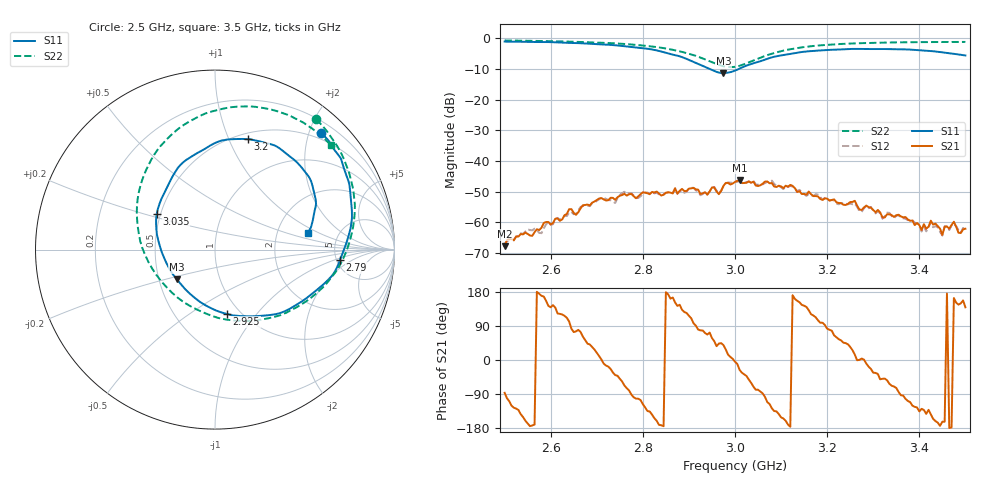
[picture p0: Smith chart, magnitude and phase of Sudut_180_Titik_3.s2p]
# Hz S RI R 50
! CMT, C1220, 16058040, 17.2.0/1
! Date: 15/08/2018 10:42:30
! Data: Format (Calibration Info)
! Freq  S11: Re/Im (F2)  S21: Re/Im (F2)  S12: Re/Im (F2)  S22: Re/Im (F2)
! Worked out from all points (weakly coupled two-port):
!   201 points, 2.5 GHz to 3.5 GHz, reference 50 ohm
!   highest |S21| = -46.20 dB at 3.01 GHz (marker M1); lowest = -67.7 dB at 2.5 GHz (marker M2)
!   lowest |S11| = -11.4 dB at 2.975 GHz (marker M3), VSWR 1.74, Z = 30.9 - j11 ohm
!   |S11| at or under -10 dB: 2.944 GHz to 3.009 GHz (64.12 MHz wide, 2.15 % of centre)
!   |S22| runs from -9.4 to -0.7 dB; largest |S21 - S12| = 0.00047
!   S11 on the Smith chart (normalised r, x): 2.5 GHz: 0.38, +2.21; 2.79 GHz: 5.37, -1.21; 2.925 GHz: 0.87, -0.72; 3.035 GHz: 0.48, +0.22; 3.2 GHz: 0.56, +1.18; 3.5 GHz: 2.99, +0.74
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2.5e9  0.5924 0.6518  2.47e-05 -0.00041  2.81e-05 -0.000442  0.5645 0.7249
2.67e9  0.7513 0.3412  0.000913 0.00168  0.000944 0.0016  0.7378 0.4535
2.74e9  0.7568 0.1288  0.00179 -0.0015  0.00174 -0.00114  0.7769 0.2738
2.76e9  0.7387 0.058  0.00113 -0.0027  0.00128 -0.00289  0.7785 0.211
2.79e9  0.6969 -0.0576  -0.000554 -0.00259  -0.000627 -0.00242  0.7657 0.1062
2.835e9  0.583 -0.2114  -0.00293 -0.000456  -0.00283 -0.000578  0.7051 -0.0691
2.925e9  0.0669 -0.3589  0.000596 0.00285  0.000511 0.00273  0.294 -0.3833
2.975e9  -0.2134 -0.1652  0.00306 0.0025  0.00298 0.00245  -0.0994 -0.3346
3e9  -0.2967 -0.0139  0.00456 -0.000354  0.00454 -0.000607  -0.2714 -0.2076
3.01e9  -0.3159 0.0504  0.0044 -0.00215  0.00422 -0.00198  -0.3267 -0.1408
3.035e9  -0.3249 0.1983  0.0022 -0.00385  0.00228 -0.00382  -0.4168 0.048
3.17e9  0.0855 0.6146  -0.00124 0.00239  -0.00141 0.0023  -0.0905 0.7413
3.2e9  0.1851 0.6151  0.000314 0.00242  0.000441 0.0024  0.02 0.7789
3.295e9  0.4215 0.5155  0.00159 -0.000697  0.00163 -0.00073  0.3038 0.7824
3.32e9  0.4663 0.476  0.000785 -0.000921  0.000769 -0.000856  0.3614 0.7657
3.335e9  0.4891 0.4493  0.000619 -0.00121  0.000549 -0.00132  0.3937 0.7549
3.405e9  0.5554 0.3042  -0.000474 -0.000589  -0.000492 -0.000515  0.5199 0.6881
3.425e9  0.5629 0.2573  -0.000859 -0.000636  -0.000808 -0.000617  0.5499 0.6681
3.45e9  0.5525 0.2024  -0.0006 -0.000186  -0.000588 -0.000163  0.5859 0.6396
3.475e9  0.5392 0.138  -0.000986 0.000293  -0.000933 0.000197  0.6164 0.6121
3.485e9  0.5308 0.117  -0.000565 0.000379  -0.000633 0.000394  0.6283 0.5998
3.5e9  0.5158 0.0901  -0.000598 0.000517  -0.000532 0.000547  0.6454 0.5828
